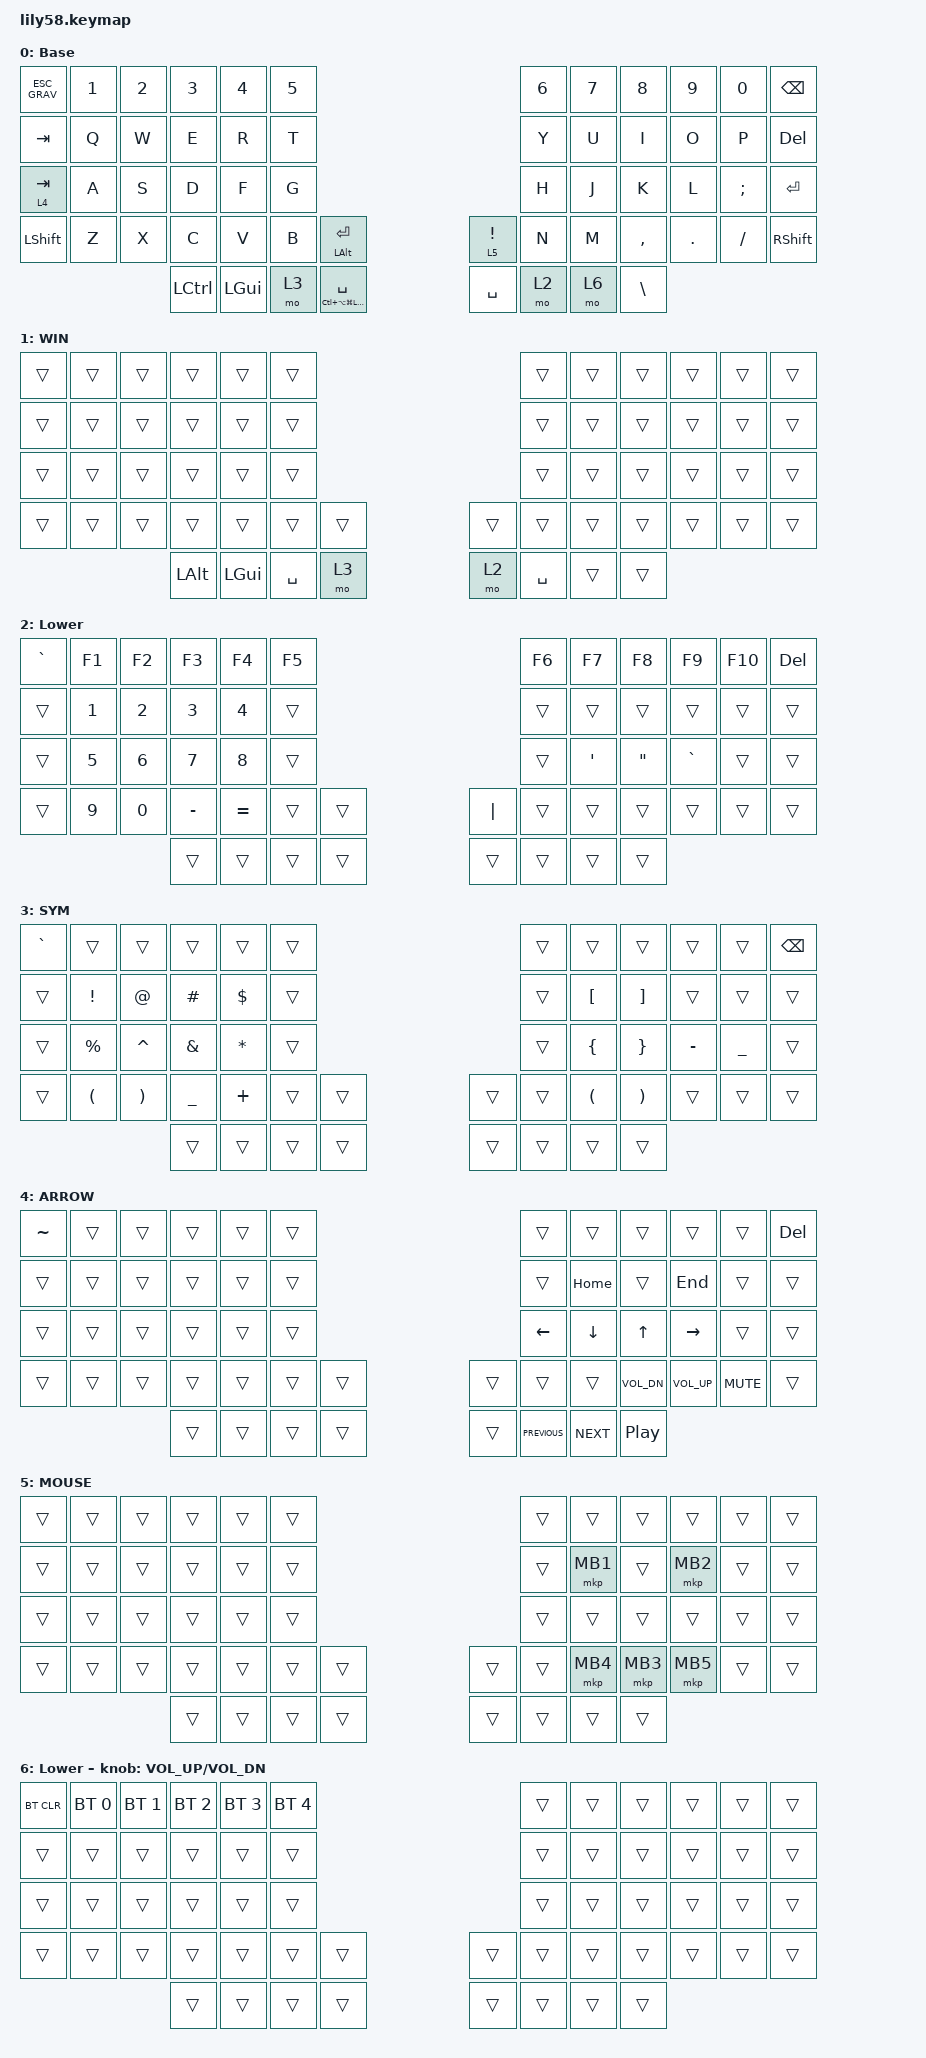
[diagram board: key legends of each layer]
/*
 * Copyright (c) 2020 The ZMK Contributors
 *
 * SPDX-License-Identifier: MIT
 */

#include <behaviors.dtsi>
#include <dt-bindings/zmk/bt.h>
#include <dt-bindings/zmk/keys.h>
#include <dt-bindings/zmk/mouse.h>

/ {
    behaviors {
        ESC_GRAV: ESC_GRAV {
            compatible = "zmk,behavior-mod-morph";
            label = "ESC_GRAV";
            bindings = <&kp ESCAPE>, <&kp GRAVE>;

            #binding-cells = <0>;
            mods = <(MOD_LSFT|MOD_RSFT)>;
        };
    };

    keymap {
        compatible = "zmk,keymap";

        MAC {
            // ------------------------------------------------------------------------------------------------------------
            // |  ESC  |  1  |  2  |  3   |  4   |  5   |                   |  6   |  7    |  8    |  9   |   0   |   `   |
            // |  TAB  |  Q  |  W  |  E   |  R   |  T   |                   |  Y   |  U    |  I    |  O   |   P   |   -   |
            // |  CTRL |  A  |  S  |  D   |  F   |  G   |                   |  H   |  J    |  K    |  L   |   ;   |   '   |
            // | SHIFT |  Z  |  X  |  C   |  V   |  B   |   "["  |  |  "]"  |  N   |  M    |  ,    |  .   |   /   | SHIFT |
            //                     | ALT  | GUI  | LOWER|  SPACE |  | ENTER | RAISE| BSPC  | GUI   |

            display-name = "Base";
            bindings = <
&ESC_GRAV  &kp N1  &kp N2  &kp N3            &kp N4    &kp N5                                                         &kp N6  &kp N7  &kp N8         &kp N9   &kp N0    &kp BACKSPACE
&kp TAB    &kp Q   &kp W   &kp E             &kp R     &kp T                                                          &kp Y   &kp U   &kp I          &kp O    &kp P     &kp DEL
&lt 4 TAB  &kp A   &kp S   &kp D             &kp F     &kp G                                                          &kp H   &kp J   &kp K          &kp L    &kp SEMI  &kp ENTER
&kp LSHFT  &kp Z   &kp X   &kp C             &kp V     &kp B   &mt LEFT_ALT ENTER                  &lt 5 EXCLAMATION  &kp N   &kp M   &kp COMMA      &kp DOT  &kp FSLH  &kp RSHFT
                           &kp LEFT_CONTROL  &kp LGUI  &mo 3   &mt LC(LA(LG(LEFT_SHIFT))) SPACE    &kp SPACE          &mo 2   &mo 6   &kp BACKSLASH
            >;
        };

        WIN {
            bindings = <
&trans  &trans  &trans  &trans        &trans        &trans                       &trans     &trans  &trans  &trans  &trans  &trans
&trans  &trans  &trans  &trans        &trans        &trans                       &trans     &trans  &trans  &trans  &trans  &trans
&trans  &trans  &trans  &trans        &trans        &trans                       &trans     &trans  &trans  &trans  &trans  &trans
&trans  &trans  &trans  &trans        &trans        &trans     &trans    &trans  &trans     &trans  &trans  &trans  &trans  &trans
                        &kp LEFT_ALT  &kp LEFT_GUI  &kp SPACE  &mo 3     &mo 2   &kp SPACE  &trans  &trans
            >;
        };

        NUM {
            // ------------------------------------------------------------------------------------------------------------
            // | BTCLR | BT1 | BT2 |  BT3 |  BT4 |  BT5 |                   |      |       |       |      |       |       |
            // |  F1   |  F2 |  F3 |  F4  |  F5  |  F6  |                   |  F7  |  F8   |  F9   |  F10 |  F11  |  F12  |
            // |   `   |  !  |  @  |  #   |  $   |  %   |                   |  ^   |  &    |  *    |  (   |   )   |   ~   |
            // |       |     |     |      |      |      |        |  |       |      |  _    |  +    |  {   |   }   |  "|"  |
            //                     |      |      |      |        |  |       |      |       |       |

            display-name = "Lower";
            bindings = <
&kp GRAVE  &kp F1        &kp F2        &kp F3        &kp F4     &kp F5                      &kp F6  &kp F7            &kp F8             &kp F9     &kp F10  &kp DEL
&trans     &kp NUMBER_1  &kp NUMBER_2  &kp NUMBER_3  &kp N4     &trans                      &trans  &trans            &trans             &trans     &trans   &trans
&trans     &kp N5        &kp N6        &kp N7        &kp N8     &trans                      &trans  &kp SINGLE_QUOTE  &kp DOUBLE_QUOTES  &kp GRAVE  &trans   &trans
&trans     &kp N9        &kp N0        &kp MINUS     &kp EQUAL  &trans  &trans    &kp PIPE  &trans  &trans            &trans             &trans     &trans   &trans
                                       &trans        &trans     &trans  &trans    &trans    &trans  &trans            &trans
            >;
        };

        SYM {
            bindings = <
&kp GRAVE  &trans                &trans                 &trans          &trans     &trans                    &trans  &trans                &trans                 &trans     &trans          &kp BACKSPACE
&trans     &kp EXCLAMATION       &kp AT                 &kp HASH        &kp DLLR   &trans                    &trans  &kp LEFT_BRACKET      &kp RIGHT_BRACKET      &trans     &trans          &trans
&trans     &kp PERCENT           &kp CARET              &kp AMPERSAND   &kp ASTRK  &trans                    &trans  &kp LEFT_BRACE        &kp RIGHT_BRACE        &kp MINUS  &kp UNDERSCORE  &trans
&trans     &kp LEFT_PARENTHESIS  &kp RIGHT_PARENTHESIS  &kp UNDERSCORE  &kp PLUS   &trans  &trans    &trans  &trans  &kp LEFT_PARENTHESIS  &kp RIGHT_PARENTHESIS  &trans     &trans          &trans
                                                        &trans          &trans     &trans  &trans    &trans  &trans  &trans                &trans
            >;
        };

        ARROW {
            bindings = <
&kp TILDE  &trans  &trans  &trans  &trans  &trans                    &trans          &trans      &trans            &trans           &trans      &kp DELETE
&trans     &trans  &trans  &trans  &trans  &trans                    &trans          &kp HOME    &trans            &kp END          &trans      &trans
&trans     &trans  &trans  &trans  &trans  &trans                    &kp LEFT        &kp DOWN    &kp UP            &kp RIGHT        &trans      &trans
&trans     &trans  &trans  &trans  &trans  &trans  &trans    &trans  &trans          &trans      &kp C_VOL_DN      &kp C_VOLUME_UP  &kp K_MUTE  &trans
                           &trans  &trans  &trans  &trans    &trans  &kp C_PREVIOUS  &kp C_NEXT  &kp C_PLAY_PAUSE
            >;
        };

        MOUSE {
            bindings = <
&trans  &trans  &trans  &trans  &trans  &trans                    &trans  &trans    &trans    &trans    &trans  &trans
&trans  &trans  &trans  &trans  &trans  &trans                    &trans  &mkp MB1  &trans    &mkp MB2  &trans  &trans
&trans  &trans  &trans  &trans  &trans  &trans                    &trans  &trans    &trans    &trans    &trans  &trans
&trans  &trans  &trans  &trans  &trans  &trans  &trans    &trans  &trans  &mkp MB4  &mkp MB3  &mkp MB5  &trans  &trans
                        &trans  &trans  &trans  &trans    &trans  &trans  &trans    &trans
            >;
        };

        BLUETOOTH {
            display-name = "Lower";
            bindings = <
&bt BT_CLR  &bt BT_SEL 0  &bt BT_SEL 1  &bt BT_SEL 2  &bt BT_SEL 3  &bt BT_SEL 4                    &trans  &trans  &trans  &trans  &trans  &trans
&trans      &trans        &trans        &trans        &trans        &trans                          &trans  &trans  &trans  &trans  &trans  &trans
&trans      &trans        &trans        &trans        &trans        &trans                          &trans  &trans  &trans  &trans  &trans  &trans
&trans      &trans        &trans        &trans        &trans        &trans        &trans    &trans  &trans  &trans  &trans  &trans  &trans  &trans
                                        &trans        &trans        &trans        &trans    &trans  &trans  &trans  &trans
            >;

            sensor-bindings = <&inc_dec_kp C_VOL_UP C_VOL_DN>;
        };
    };
};
